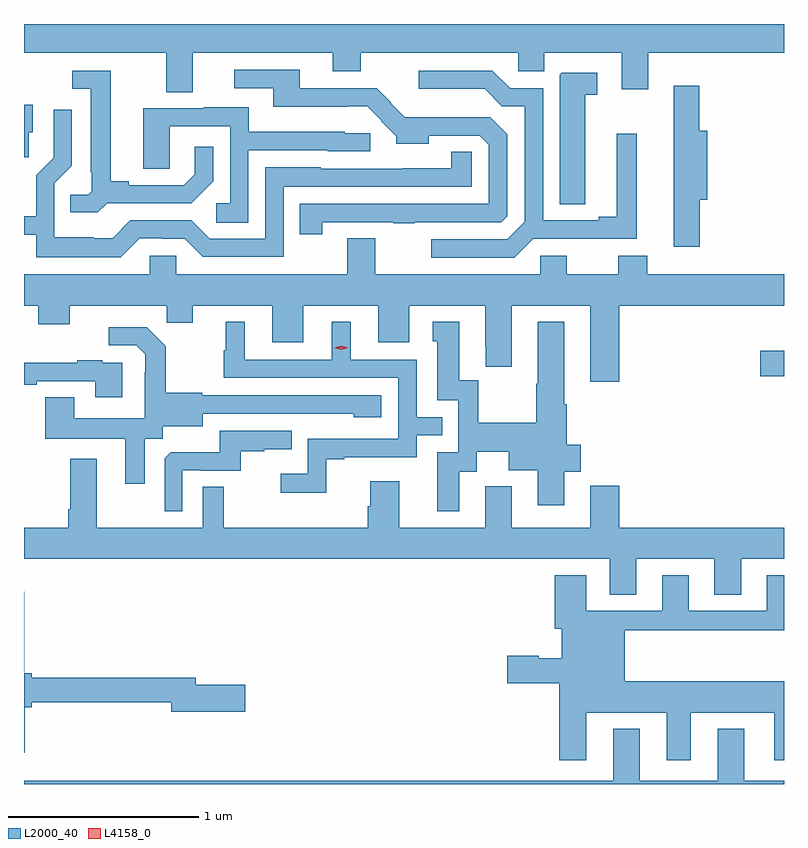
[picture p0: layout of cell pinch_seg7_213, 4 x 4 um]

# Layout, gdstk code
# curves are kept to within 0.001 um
import gdstk
lib = gdstk.Library(unit=1e-6, precision=1e-09)
def R(c, l, rs):  # rectangles x0, y0, x1, y1
    for r in rs: c.add(gdstk.rectangle(r[:2], r[2:], *l))
def P(c, l, *ps):  # polygons
    for p in ps: c.add(gdstk.Polygon(p, *l))
L2000_40 = (2000, 40)
L4158_0 = (4158, 0)

pinch_seg7_213 = lib.new_cell('pinch_seg7_213')
R(pinch_seg7_213, L2000_40, [(639.972,1052.192,640.097,1052.326)])
P(pinch_seg7_213, L2000_40, [(636.985,1053.896),(637.721,1053.896),(637.721,1053.797),(637.869,1053.797),(637.869,1053.896),(638.697,1053.896),(638.697,1053.798),(638.836,1053.798),(638.836,1053.896),(639.242,1053.896),(639.242,1053.702),(639.382,1053.702),(639.382,1053.896),(640.097,1053.896),(640.097,1054.046),(636.097,1054.046),(636.097,1053.896),(636.845,1053.896),(636.845,1053.688),(636.985,1053.688)],
  [(637.668,1053.003),(638.041,1053.003),(638.041,1052.998),(638.153,1052.998),(638.153,1053.003),(638.61,1053.003),(638.64,1053.033),(638.64,1053.465),(638.551,1053.554),(638.435,1053.554),(638.435,1053.556),(638.101,1053.556),(638.027,1053.629),(638.029,1053.631),(637.953,1053.708),(637.549,1053.708),(637.549,1053.804),(637.203,1053.804),(637.203,1053.708),(637.409,1053.708),(637.409,1053.611),(637.802,1053.611),(637.802,1053.614),(637.904,1053.614),(637.98,1053.537),(637.977,1053.534),(638.056,1053.456),(638.056,1053.416),(638.227,1053.416),(638.227,1053.459),(638.496,1053.459),(638.544,1053.411),(638.544,1053.099),(637.549,1053.099),(637.549,1052.94),(637.668,1052.94)],
  [(636.534,1053.102),(636.976,1053.102),(637.092,1053.218),(637.092,1053.4),(636.995,1053.4),(636.995,1053.255),(636.938,1053.198),(636.649,1053.198),(636.649,1053.218),(636.553,1053.218),(636.553,1053.801),(636.351,1053.801),(636.351,1053.705),(636.449,1053.705),(636.449,1053.265),(636.453,1053.265),(636.453,1053.165),(636.435,1053.147),(636.34,1053.147),(636.34,1053.055),(636.486,1053.055)],
  [(638.776,1052.916),(639.322,1052.916),(639.322,1053.469),(639.218,1053.469),(639.218,1053.032),(639.122,1053.032),(639.122,1053.012),(638.829,1053.012),(638.829,1053.708),(638.655,1053.708),(638.562,1053.801),(638.175,1053.801),(638.175,1053.704),(638.521,1053.704),(638.612,1053.613),(638.733,1053.613),(638.733,1053.006),(638.64,1052.913),(638.241,1052.913),(638.241,1052.817),(638.677,1052.817)],
  [(639.052,1053.673),(639.115,1053.673),(639.115,1053.789),(638.928,1053.789),(638.918,1053.779),(638.918,1053.097),(639.052,1053.097)],
  [(639.653,1053.122),(639.694,1053.122),(639.694,1053.484),(639.65,1053.484),(639.65,1053.721),(639.518,1053.721),(639.518,1052.874),(639.653,1052.874)],
  [(636.123,1053.477),(636.142,1053.477),(636.142,1053.622),(636.097,1053.622),(636.097,1053.345),(636.123,1053.345)],
  [(637.278,1053.381),(637.695,1053.381),(637.695,1053.375),(637.92,1053.375),(637.92,1053.471),(637.785,1053.471),(637.785,1053.478),(637.279,1053.478),(637.279,1053.607),(637.043,1053.607),(637.043,1053.603),(636.725,1053.603),(636.725,1053.283),(636.864,1053.283),(636.864,1053.507),(637.182,1053.507),(637.182,1053.102),(637.11,1053.102),(637.11,1053.001),(637.278,1053.001)],
  [(636.705,1052.919),(636.822,1052.919),(636.822,1052.916),(636.942,1052.916),(637.038,1052.82),(637.464,1052.82),(637.464,1053.189),(638.454,1053.189),(638.454,1053.374),(638.346,1053.374),(638.346,1053.286),(637.659,1053.285),(637.659,1053.292),(637.368,1053.292),(637.368,1052.916),(637.074,1052.916),(636.978,1053.012),(636.657,1053.012),(636.564,1052.919),(636.464,1052.919),(636.464,1052.923),(636.255,1052.923),(636.255,1053.207),(636.348,1053.3),(636.348,1053.595),(636.254,1053.595),(636.254,1053.342),(636.162,1053.25),(636.162,1053.034),(636.097,1053.034),(636.097,1052.937),(636.161,1052.937),(636.161,1052.819),(636.605,1052.819)],
  [(639.23,1052.564),(640.097,1052.564),(640.097,1052.728),(639.377,1052.728),(639.377,1052.827),(639.224,1052.827),(639.224,1052.728),(638.953,1052.728),(638.953,1052.826),(638.814,1052.826),(638.814,1052.728),(637.945,1052.728),(637.945,1052.918),(637.798,1052.918),(637.798,1052.728),(636.897,1052.728),(636.897,1052.826),(636.759,1052.826),(636.759,1052.728),(636.097,1052.728),(636.097,1052.564),(636.173,1052.564),(636.173,1052.465),(636.337,1052.465),(636.337,1052.564),(636.847,1052.564),(636.847,1052.474),(636.985,1052.474),(636.985,1052.564),(637.403,1052.564),(637.403,1052.37),(637.567,1052.37),(637.567,1052.564),(637.961,1052.564),(637.961,1052.37),(638.125,1052.37),(638.125,1052.564),(638.525,1052.564),(638.525,1052.353),(638.528,1052.353),(638.528,1052.241),(638.665,1052.241),(638.665,1052.564),(639.077,1052.564),(639.077,1052.163),(639.23,1052.163)],
  [(638.389,1051.69),(638.479,1051.69),(638.479,1051.796),(638.648,1051.796),(638.648,1051.697),(638.801,1051.697),(638.801,1051.512),(638.941,1051.512),(638.941,1051.69),(639.028,1051.69),(639.028,1051.832),(638.954,1051.832),(638.954,1052.044),(638.941,1052.044),(638.941,1052.479),(638.801,1052.479),(638.801,1052.153),(638.794,1052.153),(638.794,1051.948),(638.487,1051.948),(638.487,1052.171),(638.389,1052.171),(638.389,1052.479),(638.249,1052.479),(638.249,1052.376),(638.273,1052.376),(638.273,1052.067),(638.382,1052.067),(638.382,1051.791),(638.273,1051.791),(638.273,1051.482),(638.389,1051.482)],
  [(637.689,1051.755),(637.783,1051.755),(637.783,1051.767),(638.163,1051.767),(638.163,1051.881),(638.297,1051.881),(638.297,1051.977),(638.163,1051.977),(638.163,1052.28),(637.816,1052.28),(637.816,1052.479),(637.718,1052.479),(637.718,1052.28),(637.258,1052.28),(637.258,1052.479),(637.16,1052.479),(637.16,1052.328),(637.149,1052.328),(637.149,1052.184),(638.067,1052.184),(638.067,1051.863),(637.59,1051.863),(637.59,1051.678),(637.449,1051.678),(637.449,1051.58),(637.689,1051.58)],
  [(636.733,1051.864),(636.828,1051.864),(636.828,1051.928),(637.039,1051.928),(637.039,1051.995),(637.833,1051.994),(637.833,1051.976),(637.978,1051.976),(637.978,1052.091),(637.035,1052.091),(637.035,1052.104),(636.843,1052.104),(636.843,1052.349),(636.743,1052.449),(636.543,1052.449),(636.543,1052.355),(636.687,1052.355),(636.734,1052.308),(636.734,1052.213),(636.732,1052.213),(636.732,1051.972),(636.361,1051.972),(636.361,1052.081),(636.209,1052.081),(636.209,1051.862),(636.629,1051.862),(636.629,1051.626),(636.733,1051.626)],
  [(636.613,1052.262),(636.509,1052.262),(636.509,1052.275),(636.377,1052.275),(636.377,1052.264),(636.097,1052.264),(636.097,1052.148),(636.163,1052.148),(636.163,1052.166),(636.473,1052.166),(636.473,1052.082),(636.613,1052.082)],
  [(636.93,1051.698),(637.03,1051.698),(637.03,1051.695),(637.238,1051.695),(637.238,1051.797),(637.361,1051.797),(637.361,1051.808),(637.505,1051.808),(637.505,1051.905),(637.128,1051.905),(637.128,1051.793),(636.869,1051.793),(636.837,1051.761),(636.837,1051.481),(636.93,1051.481)],
  [(639.319,1051.232),(639.731,1051.232),(639.731,1051.042),(639.871,1051.042),(639.871,1051.232),(640.097,1051.232),(640.097,1051.396),(639.23,1051.396),(639.23,1051.615),(639.077,1051.615),(639.077,1051.396),(638.665,1051.396),(638.665,1051.612),(638.525,1051.612),(638.525,1051.396),(638.071,1051.396),(638.071,1051.639),(637.919,1051.639),(637.919,1051.509),(637.907,1051.509),(637.907,1051.396),(637.147,1051.396),(637.147,1051.61),(637.038,1051.61),(637.038,1051.396),(636.481,1051.396),(636.481,1051.759),(636.341,1051.759),(636.341,1051.492),(636.329,1051.492),(636.329,1051.396),(636.097,1051.396),(636.097,1051.232),(639.179,1051.232),(639.179,1051.042),(639.319,1051.042)],
  [(639.055,1050.422),(639.479,1050.422),(639.479,1050.171),(639.607,1050.171),(639.607,1050.422),(640.046,1050.422),(640.046,1050.171),(640.097,1050.171),(640.097,1050.586),(639.259,1050.586),(639.259,1050.856),(640.097,1050.856),(640.097,1051.144),(640.007,1051.144),(640.007,1050.957),(639.595,1050.957),(639.595,1051.144),(639.455,1051.144),(639.455,1050.957),(639.055,1050.957),(639.055,1051.144),(638.891,1051.144),(638.891,1050.864),(638.927,1050.864),(638.927,1050.709),(638.807,1050.709),(638.807,1050.722),(638.64,1050.722),(638.64,1050.575),(638.915,1050.575),(638.915,1050.171),(639.055,1050.171)],
  [(636.101,1050.451),(636.137,1050.451),(636.137,1050.477),(636.872,1050.477),(636.872,1050.427),(637.261,1050.427),(637.261,1050.569),(637,1050.569),(637,1050.605),(636.137,1050.605),(636.137,1050.629),(636.098,1050.629),(636.098,1051.057),(636.097,1051.057),(636.097,1050.21),(636.101,1050.21)],
  [(640.097,1050.064),(639.889,1050.064),(639.889,1050.337),(639.749,1050.337),(639.749,1050.064),(639.337,1050.064),(639.337,1050.337),(639.197,1050.337),(639.197,1050.064),(636.097,1050.064),(636.097,1050.046),(640.097,1050.046)])
P(pinch_seg7_213, L4158_0, [(637.767,1052.332),(637.731,1052.341),(637.731,1052.342),(637.731,1052.342),(637.767,1052.352),(637.803,1052.342),(637.803,1052.342),(637.803,1052.341)])

lib.write_gds('pinch_seg7_213.gds')
